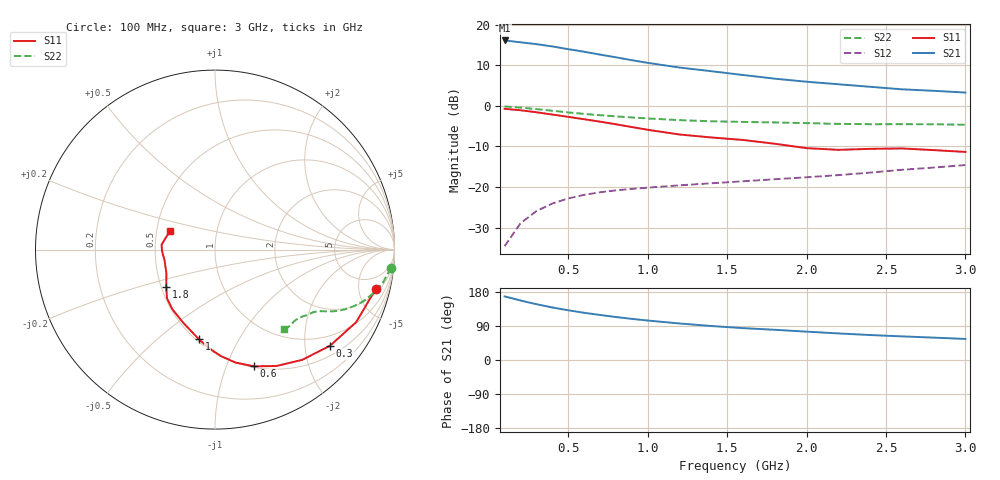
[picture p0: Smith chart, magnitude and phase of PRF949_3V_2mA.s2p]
! Philips part #:  PRF949  Date:  Dec 1999
! Bias condition:  Vce=3V, Ic=2mA
#  MHz  S  MA  R 50
! Freq  S11  S21  S12  S22  :
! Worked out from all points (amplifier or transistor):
!   20 points, 100 MHz to 3 GHz, reference 50 ohm
!   highest |S21| = 16.2 dB at 100 MHz (marker M1)
!   |S21| within 3 dB of that: start of sweep to 631 MHz
!   unconditionally stable (mu >= 1): 1.868 GHz to end of sweep
!   at 400 MHz: K = 0.26, MSG = 19.4 dB, |S12| = -24.1 dB
!   at 1.2 GHz: K = 0.75, MSG = 14.5 dB, |S12| = -19.6 dB
!   at 3 GHz: K = 1.10, MAG = 7.0 dB, |S12| = -14.6 dB
!   S11 on the Smith chart (normalised r, x): 100 MHz: 2.50, -7.35; 300 MHz: 0.73, -2.57; 600 MHz: 0.51, -1.26; 1 GHz: 0.52, -0.70; 1.8 GHz: 0.53, -0.25; 3 GHz: 0.59, +0.13
100  0.9214 -13.9  6.423 167.8  0.01861 81.6  0.9851 -5.9
200  0.8845 -27.2  6.094 157.0  0.0357 74.6  0.9537 -11.1
300  0.8353 -39.9  5.788 147.3  0.05039 68.7  0.9137 -15.6
400  0.7832 -51.7  5.418 138.6  0.06248 63.8  0.8728 -19.4
500  0.7334 -62.2  5.021 131.2  0.07214 60.3  0.8321 -22.4
600  0.6855 -71.6  4.662 124.6  0.07989 57.7  0.7974 -24.6
700  0.6399 -79.7  4.301 118.8  0.08599 55.8  0.7686 -26.3
800  0.5936 -86.9  3.982 113.5  0.09088 54.5  0.7436 -27.5
900  0.5493 -93.6  3.669 108.5  0.09464 53.8  0.7212 -28.5
1000  0.508 -100.1  3.401 104.2  0.09815 53.5  0.7011 -29.3
1200  0.4445 -113.4  2.978 96.4  0.1047 53.7  0.668 -30.9
1400  0.4084 -125.6  2.682 89.7  0.1111 54.7  0.6466 -32.8
1600  0.3804 -134.7  2.409 84.1  0.1176 56.8  0.6351 -34.6
1800  0.3417 -142.7  2.169 79.7  0.1246 59.3  0.6254 -36.0
2000  0.3015 -153.9  1.989 74.9  0.1318 61.6  0.6134 -37.4
2200  0.2873 -167.8  1.851 70.1  0.1401 63.9  0.6009 -39.5
2400  0.2954 -178.6  1.722 65.9  0.1504 66.1  0.5947 -42.3
2600  0.2987 174.7  1.603 62.3  0.1629 68.3  0.5956 -44.8
2800  0.2851 168.1  1.537 59.1  0.1737 70.3  0.5938 -46.7
3000  0.2707 157.7  1.462 55.6  0.1864 72.2  0.586 -48.8
